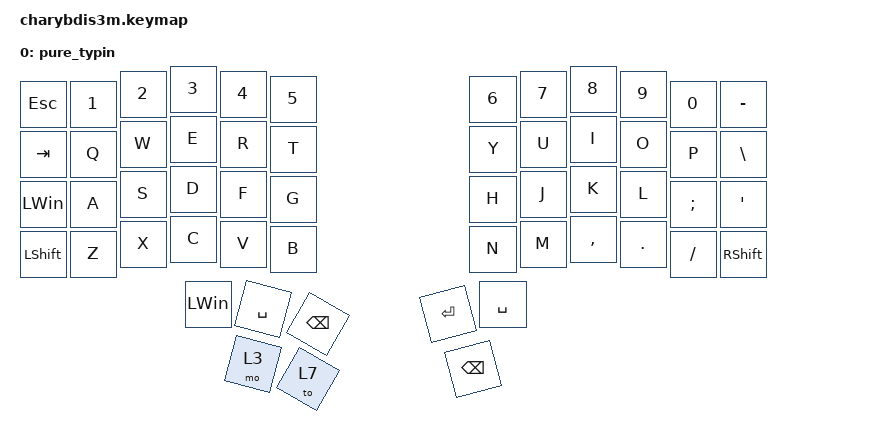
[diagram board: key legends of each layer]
#include <behaviors.dtsi>
#include <dt-bindings/zmk/keys.h>

/ {

    keymap {
        compatible = "zmk,keymap";
        pure_typin {
            bindings = <
&kp ESC         &kp N1  &kp N2  &kp N3        &kp N4     &kp N5           &kp N6         &kp N7     &kp N8     &kp N9   &kp N0         &kp MINUS
&kp TAB         &kp Q   &kp W   &kp E         &kp R      &kp T            &kp Y          &kp U      &kp I      &kp O    &kp P          &kp BSLH
&kp LEFT_WIN    &kp A   &kp S   &kp D         &kp F      &kp G            &kp H          &kp J      &kp K      &kp L    &kp SEMICOLON  &kp SQT
&kp LEFT_SHIFT  &kp Z   &kp X   &kp C         &kp V      &kp B            &kp N          &kp M      &kp COMMA  &kp DOT  &kp FSLH       &kp RIGHT_SHIFT
                                &kp LEFT_WIN  &kp SPACE  &kp BACKSPACE    &kp ENTER      &kp SPACE
                                              &mo 3      &to 7            &kp BACKSPACE
            >;
        	};
    };
};
